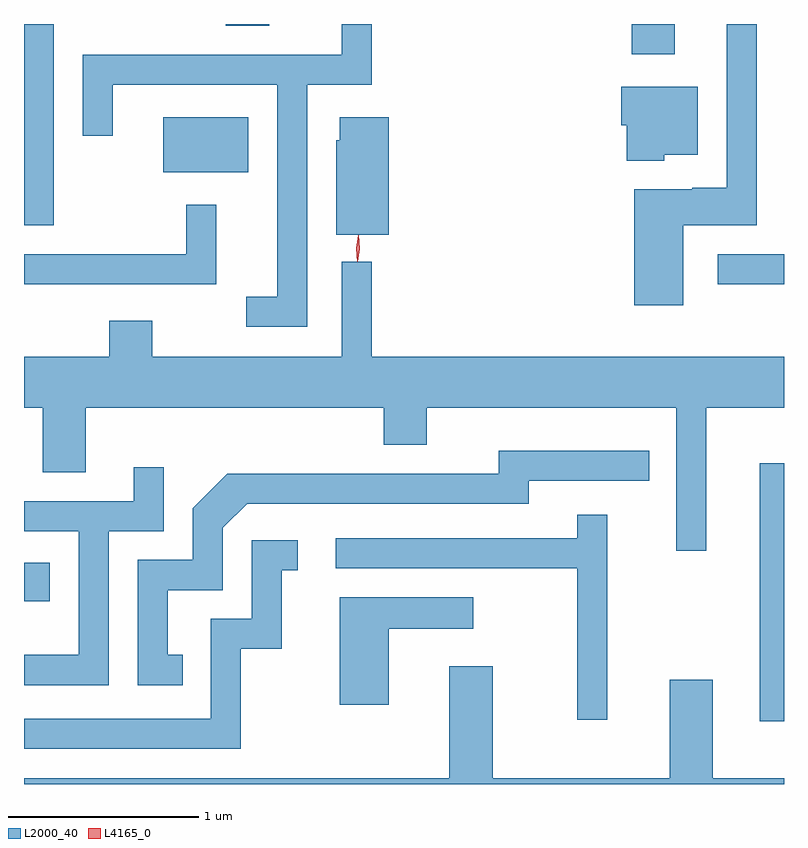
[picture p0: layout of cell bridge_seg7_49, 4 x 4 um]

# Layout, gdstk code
import gdstk
lib = gdstk.Library(unit=1e-6, precision=1e-09)
def R(c, l, rs):  # rectangles x0, y0, x1, y1
    for r in rs: c.add(gdstk.rectangle(r[:2], r[2:], *l))
def P(c, l, *ps):  # polygons
    for p in ps: c.add(gdstk.Polygon(p, *l))
L2000_40 = (2000, 40)
L4165_0 = (4165, 0)

bridge_seg7_49 = lib.new_cell('bridge_seg7_49')
R(bridge_seg7_49, L2000_40, [(1548.366,1748.186,1548.493,1749.544), (1544.493,1748.816,1544.629,1749.019), (1548.143,1750.486,1548.493,1750.644), (1544.493,1750.796,1544.649,1751.855), (1545.226,1751.076,1545.674,1751.364), (1547.691,1751.696,1547.919,1751.855), (1545.556,1751.846,1545.784,1751.855)])
P(bridge_seg7_49, L2000_40, [(1547.964,1750.796),(1548.349,1750.796),(1548.349,1751.855),(1548.191,1751.855),(1548.191,1750.994),(1548.01,1750.994),(1548.01,1750.984),(1547.706,1750.984),(1547.706,1750.376),(1547.964,1750.376)],
  [(1545.984,1751.536),(1546.324,1751.536),(1546.324,1751.855),(1546.166,1751.855),(1546.166,1751.694),(1544.801,1751.694),(1544.801,1751.268),(1544.959,1751.268),(1544.959,1751.536),(1545.826,1751.536),(1545.826,1750.419),(1545.663,1750.419),(1545.663,1750.261),(1545.984,1750.261)],
  [(1547.864,1751.166),(1548.039,1751.166),(1548.039,1751.524),(1547.636,1751.524),(1547.636,1751.321),(1547.666,1751.321),(1547.666,1751.136),(1547.864,1751.136)],
  [(1546.414,1751.364),(1546.156,1751.364),(1546.156,1751.244),(1546.136,1751.244),(1546.136,1750.746),(1546.414,1750.746)],
  [(1545.504,1750.903),(1545.346,1750.903),(1545.346,1750.644),(1544.493,1750.644),(1544.493,1750.486),(1545.504,1750.486)],
  [(1546.386,1749.641),(1546.614,1749.641),(1546.614,1749.836),(1547.926,1749.836),(1547.926,1749.083),(1548.084,1749.083),(1548.084,1749.836),(1548.493,1749.836),(1548.493,1750.104),(1546.324,1750.104),(1546.324,1750.603),(1546.166,1750.603),(1546.166,1750.104),(1545.169,1750.104),(1545.169,1750.294),(1544.941,1750.294),(1544.941,1750.104),(1544.493,1750.104),(1544.493,1749.836),(1544.591,1749.836),(1544.591,1749.496),(1544.819,1749.496),(1544.819,1749.836),(1546.386,1749.836)],
  [(1545.328,1748.534),(1545.249,1748.534),(1545.249,1748.876),(1545.539,1748.876),(1545.539,1749.204),(1545.667,1749.331),(1547.149,1749.331),(1547.149,1749.451),(1547.783,1749.451),(1547.783,1749.609),(1546.991,1749.609),(1546.991,1749.489),(1545.564,1749.489),(1545.381,1749.307),(1545.381,1749.034),(1545.091,1749.034),(1545.091,1748.376),(1545.328,1748.376)],
  [(1544.939,1749.186),(1545.229,1749.186),(1545.229,1749.523),(1545.071,1749.523),(1545.071,1749.344),(1544.493,1749.344),(1544.493,1749.186),(1544.781,1749.186),(1544.781,1748.534),(1544.493,1748.534),(1544.493,1748.376),(1544.939,1748.376)],
  [(1547.564,1749.273),(1547.406,1749.273),(1547.406,1749.149),(1546.133,1749.149),(1546.133,1748.991),(1547.406,1748.991),(1547.406,1748.193),(1547.564,1748.193)],
  [(1545.634,1748.566),(1545.849,1748.566),(1545.849,1748.981),(1545.933,1748.981),(1545.933,1749.139),(1545.691,1749.139),(1545.691,1748.724),(1545.476,1748.724),(1545.476,1748.199),(1544.493,1748.199),(1544.493,1748.041),(1545.634,1748.041)],
  [(1546.414,1748.671),(1546.858,1748.671),(1546.858,1748.839),(1546.156,1748.839),(1546.156,1748.271),(1546.414,1748.271)],
  [(1548.493,1747.884),(1548.119,1747.884),(1548.119,1748.404),(1547.891,1748.404),(1547.891,1747.884),(1546.959,1747.884),(1546.959,1748.474),(1546.731,1748.474),(1546.731,1747.884),(1544.493,1747.884),(1544.493,1747.855),(1548.493,1747.855)])
P(bridge_seg7_49, L4165_0, [(1546.248,1750.608),(1546.241,1750.674),(1546.252,1750.739),(1546.253,1750.74),(1546.253,1750.739),(1546.261,1750.674),(1546.249,1750.608),(1546.249,1750.608)],
  [(1546.248,1750.605),(1546.241,1750.674),(1546.253,1750.742),(1546.254,1750.742),(1546.254,1750.742),(1546.261,1750.673),(1546.249,1750.605),(1546.249,1750.605)])

lib.write_gds('bridge_seg7_49.gds')
